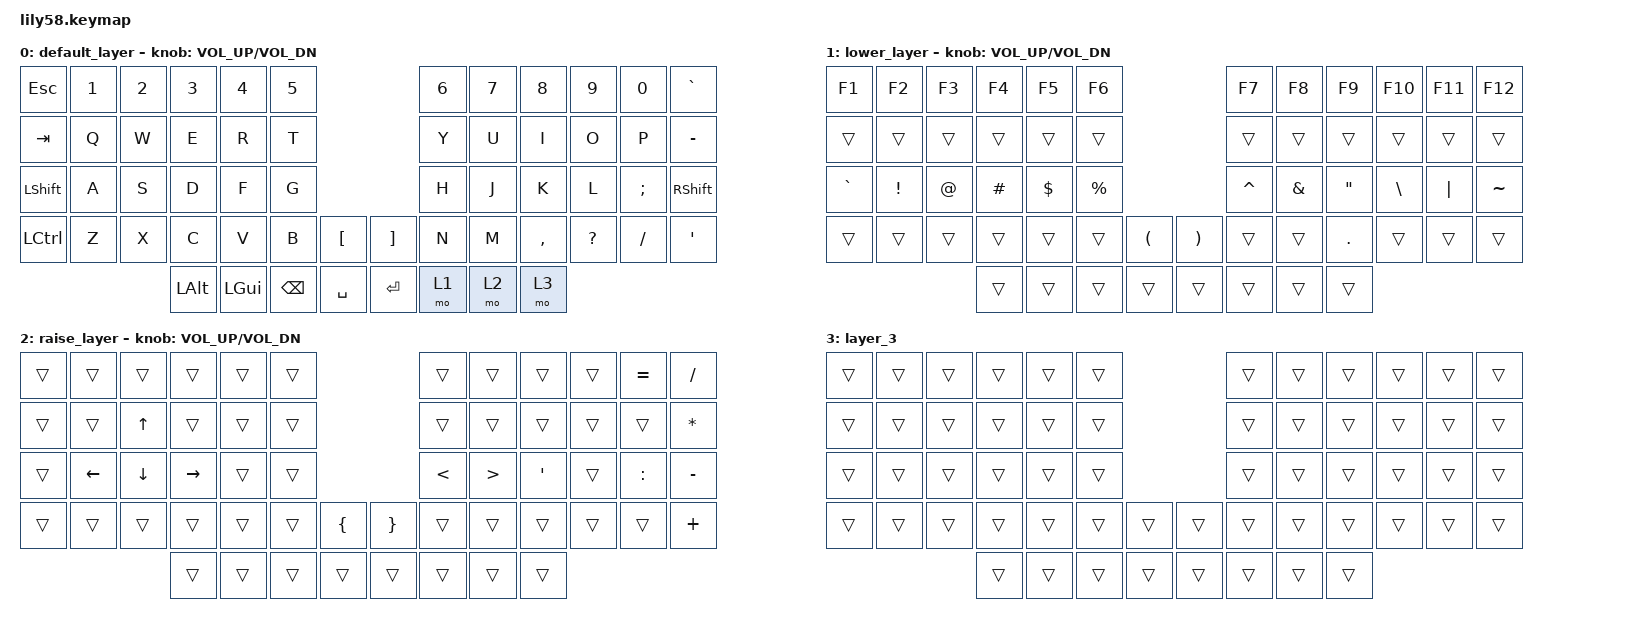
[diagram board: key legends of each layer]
/*
 * Copyright (c) 2020 The ZMK Contributors
 *
 * SPDX-License-Identifier: MIT
 */

#include <behaviors.dtsi>
#include <dt-bindings/zmk/keys.h>

/ {
    keymap {
        compatible = "zmk,keymap";

        default_layer {
            // ------------------------------------------------------------------------------------------------------------
            // |  ESC  |  1  |  2  |  3   |  4   |  5   |                   |  6   |  7    |  8    |  9   |   0   |   `   |
            // |  TAB  |  Q  |  W  |  E   |  R   |  T   |                   |  Y   |  U    |  I    |  O   |   P   |   -   |
            // |  CTRL |  A  |  S  |  D   |  F   |  G   |                   |  H   |  J    |  K    |  L   |   ;   |   '   |
            // | SHIFT |  Z  |  X  |  C   |  V   |  B   |   "["  |  |  "]"  |  N   |  M    |  ,    |  .   |   /   | SHIFT |
            //                     | ALT  | GUI  | LOWER|  SPACE |  | ENTER | RAISE| BSPC  | GUI   |

            bindings = <
&kp ESC    &kp N1  &kp N2  &kp N3    &kp N4    &kp N5                                &kp N6  &kp N7  &kp N8     &kp N9        &kp N0    &kp GRAVE
&kp TAB    &kp Q   &kp W   &kp E     &kp R     &kp T                                 &kp Y   &kp U   &kp I      &kp O         &kp P     &kp MINUS
&kp LSHFT  &kp A   &kp S   &kp D     &kp F     &kp G                                 &kp H   &kp J   &kp K      &kp L         &kp SEMI  &kp RSHFT
&kp LCTRL  &kp Z   &kp X   &kp C     &kp V     &kp B          &kp LBKT     &kp RBKT  &kp N   &kp M   &kp COMMA  &kp QUESTION  &kp FSLH  &kp SQT
                           &kp LALT  &kp LGUI  &kp BACKSPACE  &kp SPACE    &kp RET   &mo 1   &mo 2   &mo 3
            >;

            sensor-bindings = <&inc_dec_kp C_VOL_UP C_VOL_DN>;
        };

        lower_layer {
            // ------------------------------------------------------------------------------------------------------------
            // | BTCLR | BT1 | BT2 |  BT3 |  BT4 |  BT5 |                   |      |       |       |      |       |       |
            // |  F1   |  F2 |  F3 |  F4  |  F5  |  F6  |                   |  F7  |  F8   |  F9   |  F10 |  F11  |  F12  |
            // |   `   |  !  |  @  |  #   |  $   |  %   |                   |  ^   |  &    |  *    |  (   |   )   |   ~   |
            // |       |     |     |      |      |      |        |  |       |      |  _    |  +    |  {   |   }   |  "|"  |
            //                     |      |      |      |        |  |       |      |       |       |

            bindings = <
&kp F1     &kp F2    &kp F3  &kp F4    &kp F5      &kp F6                                                    &kp F7     &kp F8    &kp F9             &kp F10        &kp F11   &kp F12
&trans     &trans    &trans  &trans    &trans      &trans                                                    &trans     &trans    &trans             &trans         &trans    &trans
&kp GRAVE  &kp EXCL  &kp AT  &kp HASH  &kp DOLLAR  &kp PRCNT                                                 &kp CARET  &kp AMPS  &kp DOUBLE_QUOTES  &kp BACKSLASH  &kp PIPE  &kp TILDE
&trans     &trans    &trans  &trans    &trans      &trans     &kp LEFT_PARENTHESIS    &kp RIGHT_PARENTHESIS  &trans     &trans    &kp PERIOD         &trans         &trans    &trans
                             &trans    &trans      &trans     &trans                  &trans                 &trans     &trans    &trans
            >;

            sensor-bindings = <&inc_dec_kp C_VOL_UP C_VOL_DN>;
        };

        raise_layer {
            // ------------------------------------------------------------------------------------------------------------
            // |       |     |     |      |      |      |                   |      |       |       |      |       |       |
            // |   `   |  1  |  2  |  3   |  4   |  5   |                   |  6   |   7   |   8   |  9   |   0   |       |
            // |   F1  |  F2 |  F3 |  F4  |  F5  |  F6  |                   |      |   <-  |   v   |  ^   |  ->   |       |
            // |   F7  |  F8 |  F9 |  F10 |  F11 |  F12 |        |  |       |  +   |   -   |   =   |  [   |   ]   |   \   |
            //                     |      |      |      |        |  |       |      |       |       |

            bindings = <
&trans  &trans    &trans        &trans     &trans  &trans                                     &trans         &trans            &trans   &trans  &kp EQUAL  &kp SLASH
&trans  &trans    &kp UP_ARROW  &trans     &trans  &trans                                     &trans         &trans            &trans   &trans  &trans     &kp ASTERISK
&trans  &kp LEFT  &kp DOWN      &kp RIGHT  &trans  &trans                                     &kp LESS_THAN  &kp GREATER_THAN  &kp SQT  &trans  &kp COLON  &kp MINUS
&trans  &trans    &trans        &trans     &trans  &trans  &kp LEFT_BRACE    &kp RIGHT_BRACE  &trans         &trans            &trans   &trans  &trans     &kp PLUS
                                &trans     &trans  &trans  &trans            &trans           &trans         &trans            &trans
            >;

            sensor-bindings = <&inc_dec_kp C_VOL_UP C_VOL_DN>;
        };

        layer_3 {
            bindings = <
&trans  &trans  &trans  &trans  &trans  &trans                    &trans  &trans  &trans  &trans  &trans  &trans
&trans  &trans  &trans  &trans  &trans  &trans                    &trans  &trans  &trans  &trans  &trans  &trans
&trans  &trans  &trans  &trans  &trans  &trans                    &trans  &trans  &trans  &trans  &trans  &trans
&trans  &trans  &trans  &trans  &trans  &trans  &trans    &trans  &trans  &trans  &trans  &trans  &trans  &trans
                        &trans  &trans  &trans  &trans    &trans  &trans  &trans  &trans
            >;
        };
    };
};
